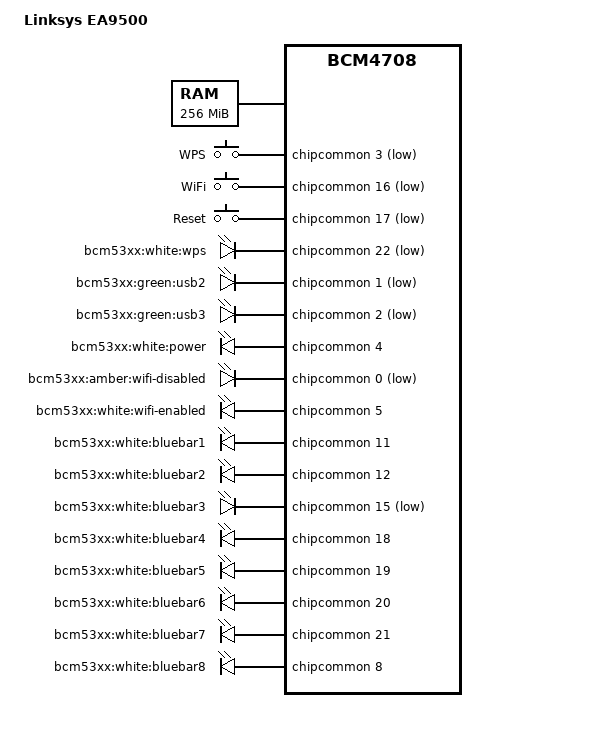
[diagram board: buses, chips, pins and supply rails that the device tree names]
/*
 * Copyright (C) 2017 Rafał Miłecki <rafal@milecki.pl>
 *
 * Licensed under the ISC license.
 */

/dts-v1/;

#include "bcm47094.dtsi"
#include "bcm5301x-nand-cs0-bch1.dtsi"

/ {
	compatible = "linksys,panamera", "brcm,bcm47094", "brcm,bcm4708";
	model = "Linksys EA9500";

	chosen {
		bootargs = "console=ttyS0,115200";
	};

	memory {
		reg = <0x00000000 0x08000000
		       0x88000000 0x08000000>;
	};

	gpio-keys {
		compatible = "gpio-keys";
		#address-cells = <1>;
		#size-cells = <0>;

		wps {
			label = "WPS";
			linux,code = <KEY_WPS_BUTTON>;
			gpios = <&chipcommon 3 GPIO_ACTIVE_LOW>;
		};

		rfkill {
		label = "WiFi";
		linux,code = <KEY_RFKILL>;
		gpios = <&chipcommon 16 GPIO_ACTIVE_LOW>;
		};

		reset {
		label = "Reset";
		linux,code = <KEY_RESTART>;
		gpios = <&chipcommon 17 GPIO_ACTIVE_LOW>;
		};
	};

	leds {
		compatible = "gpio-leds";

		wps {
		label = "bcm53xx:white:wps";
		gpios = <&chipcommon 22 GPIO_ACTIVE_LOW>;
		};

		usb2 {
		label = "bcm53xx:green:usb2";
		gpios = <&chipcommon 1 GPIO_ACTIVE_LOW>;
		};

		usb3 {
		label = "bcm53xx:green:usb3";
		gpios = <&chipcommon 2 GPIO_ACTIVE_LOW>;
		};

		power {
		label = "bcm53xx:white:power";
		gpios = <&chipcommon 4 GPIO_ACTIVE_HIGH>;
		};

		wifi-disabled {
		label = "bcm53xx:amber:wifi-disabled";
		gpios = <&chipcommon 0 GPIO_ACTIVE_LOW>;
		};

		wifi-enabled {
		label = "bcm53xx:white:wifi-enabled";
		gpios = <&chipcommon 5 GPIO_ACTIVE_HIGH>;
		};

		bluebar1 {
		label = "bcm53xx:white:bluebar1";
		gpios = <&chipcommon 11 GPIO_ACTIVE_HIGH>;
		};

		bluebar2 {
		label = "bcm53xx:white:bluebar2";
		gpios = <&chipcommon 12 GPIO_ACTIVE_HIGH>;
		};

		bluebar3 {
		label = "bcm53xx:white:bluebar3";
		gpios = <&chipcommon 15 GPIO_ACTIVE_LOW>;
		};

		bluebar4 {
		label = "bcm53xx:white:bluebar4";
		gpios = <&chipcommon 18 GPIO_ACTIVE_HIGH>;
		};

		bluebar5 {
		label = "bcm53xx:white:bluebar5";
		gpios = <&chipcommon 19 GPIO_ACTIVE_HIGH>;
		};

		bluebar6 {
		label = "bcm53xx:white:bluebar6";
		gpios = <&chipcommon 20 GPIO_ACTIVE_HIGH>;
		};

		bluebar7 {
		label = "bcm53xx:white:bluebar7";
		gpios = <&chipcommon 21 GPIO_ACTIVE_HIGH>;
		};

		bluebar8 {
		label = "bcm53xx:white:bluebar8";
		gpios = <&chipcommon 8 GPIO_ACTIVE_HIGH>;
		};

	};
};

&usb2 {
	vcc-gpio = <&chipcommon 13 GPIO_ACTIVE_HIGH>;
};

&usb3 {
	vcc-gpio = <&chipcommon 14 GPIO_ACTIVE_HIGH>;
};
